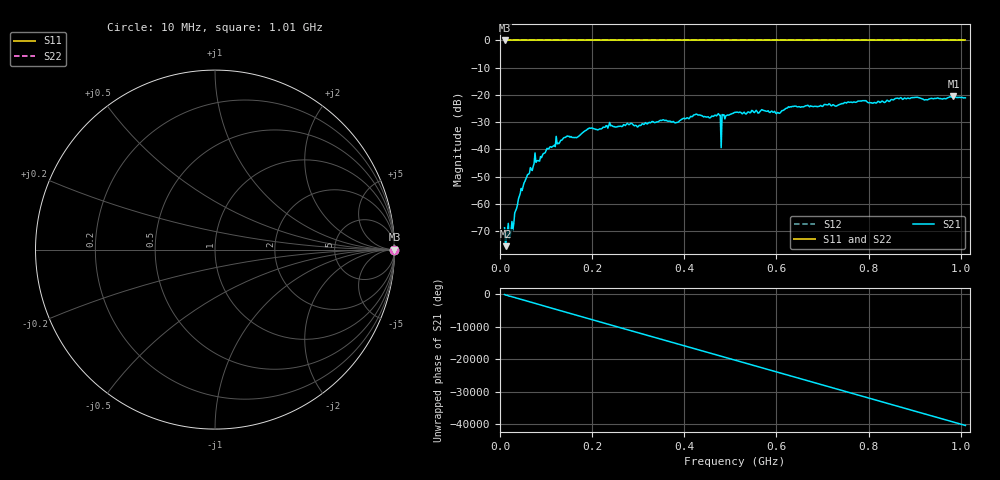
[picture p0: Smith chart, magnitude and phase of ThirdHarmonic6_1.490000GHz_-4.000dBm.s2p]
! 8/16/2025 5:27:06 PM
! C:\ANRITSUVNA\TEMP\TEMP.S2P
! CHANNEL.1
! TR.MEASUREMENT
! RAW.DATA
! RF.CORRECTION.OFF
! AVERAGING.OFF
! IF.BANDWIDTH: 5KHZ
! SWEEPTYPE:  FREQ.SWEEP(Linear)
! Reference Plane Port Info
! PORT:  PORT1  PORT2
! DISTANCE:  0  m  0  m
! TIME:  0  s  0  s
! PHASE.OFFSET:  0  deg.  0  deg.
! LOSS:  0  dB  0  dB
! REF.LOSS:  0  dB  0  dB
! REF.FREQ:  0  Hz  0  Hz
! Power Info
! POWER:  -20  dBm  -20  dBm
! EFF.POWER:  -20  dBm  -20  dBm
! SOURCE.ATTEN:  0  dB  0  dB
! TEST.ATTEN:  0  dB  0  dB
# GHZ S RI R 50.0
! FREQ.GHZ  S11RE  S11IM  S21RE  S21IM  S12RE  S12IM  S22RE  S22IM
!; PortSelection: Port_12
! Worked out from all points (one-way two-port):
!   501 points, 10 MHz to 1.01 GHz, reference 50 ohm
!   highest |S21| = -20.56 dB at 984 MHz (marker M1); lowest = -75.6 dB at 12 MHz (marker M2)
!   lowest |S11| = 0.0 dB at 10 MHz (marker M3)
!   |S11| at or under -10 dB: nowhere
!   |S22| runs from 0.0 to 0.0 dB; largest |S21 - S12| = 1.1
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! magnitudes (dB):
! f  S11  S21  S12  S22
! 10 MHz  0.0  -68.8  0.0  0.0
! 12 MHz  0.0  -75.6  0.0  0.0
! 24 MHz  0.0  -69.9  0.0  0.0
! 44 MHz  0.0  -56.1  0.0  0.0
! 76 MHz  0.0  -41.3  0.0  0.0
! 142 MHz  0.0  -35.6  0.0  0.0
! 178 MHz  0.0  -34.1  0.0  0.0
! 196 MHz  0.0  -32.2  0.0  0.0
! 344 MHz  0.0  -29.8  0.0  0.0
! 384 MHz  0.0  -30.1  0.0  0.0
! 428 MHz  0.0  -27.2  0.0  0.0
! 474 MHz  0.0  -26.9  0.0  0.0
! 476 MHz  0.0  -27.4  0.0  0.0
! 484 MHz  0.0  -27.4  0.0  0.0
! 486 MHz  0.0  -27.3  0.0  0.0
! 510 MHz  0.0  -26.4  0.0  0.0
! 604 MHz  0.0  -26.6  0.0  0.0
! 630 MHz  0.0  -24.4  0.0  0.0
! 678 MHz  0.0  -24.2  0.0  0.0
! 844 MHz  0.0  -22.4  0.0  0.0
! 984 MHz  0.0  -20.6  0.0  0.0
! 1.01 GHz  0.0  -21.1  0.0  0.0
